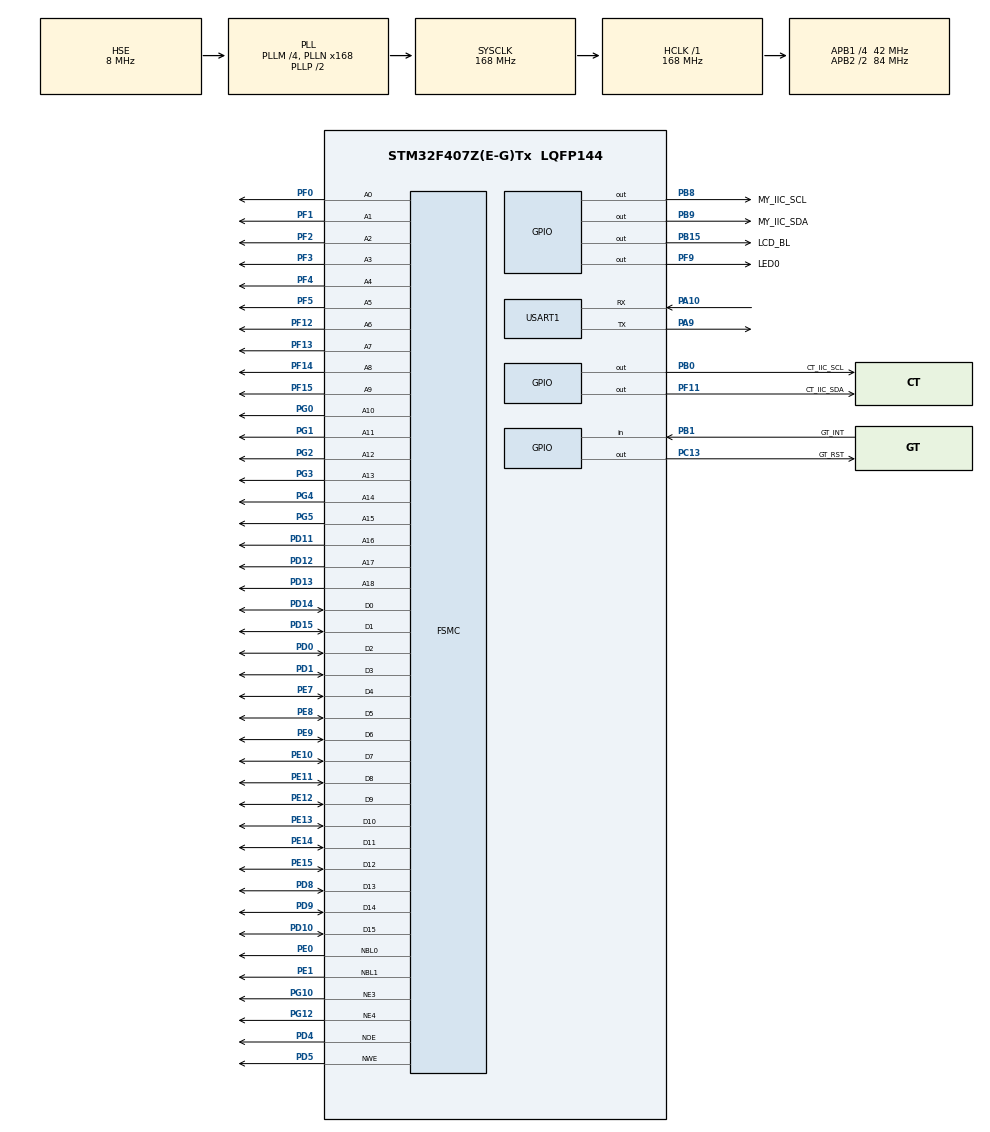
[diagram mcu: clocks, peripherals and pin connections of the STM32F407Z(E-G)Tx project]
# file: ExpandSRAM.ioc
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FSMC.AddressSetupTime3=0
FSMC.AddressSetupTime4=2
FSMC.BusTurnAroundDuration3=0
FSMC.DataSetupTime3=7
FSMC.DataSetupTime4=5
FSMC.ExtendedAddressSetupTime4=0
FSMC.ExtendedDataSetupTime4=3
FSMC.ExtendedMode4=FSMC_EXTENDED_MODE_ENABLE
FSMC.WriteOperation3=FSMC_WRITE_OPERATION_ENABLE
Mcu.Family=STM32F4
Mcu.Name=STM32F407Z(E-G)Tx
Mcu.Package=LQFP144
NVIC.PriorityGroup=NVIC_PRIORITYGROUP_4
NVIC.TIM3_IRQn=true\:1\:0\:true\:false\:true\:true\:true
NVIC.TIM4_IRQn=true\:2\:0\:true\:false\:true\:true\:true
NVIC.TIM5_IRQn=true\:3\:0\:true\:false\:true\:true\:true
PA10.Mode=Asynchronous
PA10.Signal=USART1_RX
PA13.Mode=Serial_Wire
PA13.Signal=SYS_JTMS-SWDIO
PA14.Mode=Serial_Wire
PA14.Signal=SYS_JTCK-SWCLK
PA9.Mode=Asynchronous
PA9.Signal=USART1_TX
PB0.GPIO_Label=CT_IIC_SCL
PB0.GPIO_PuPd=GPIO_PULLUP
PB0.GPIO_Speed=GPIO_SPEED_FREQ_VERY_HIGH
PB0.PinState=GPIO_PIN_SET
PB0.Signal=GPIO_Output
PB1.GPIO_Label=GT_INT
PB1.GPIO_PuPd=GPIO_PULLUP
PB1.Signal=GPIO_Input
PB15.GPIO_Label=LCD_BL
PB15.Signal=GPIO_Output
PB8.GPIO_Label=MY_IIC_SCL
PB8.GPIO_PuPd=GPIO_PULLUP
PB8.GPIO_Speed=GPIO_SPEED_FREQ_HIGH
PB8.PinState=GPIO_PIN_SET
PB8.Signal=GPIO_Output
PB9.GPIO_Label=MY_IIC_SDA
PB9.GPIO_PuPd=GPIO_PULLUP
PB9.GPIO_Speed=GPIO_SPEED_FREQ_HIGH
PB9.PinState=GPIO_PIN_SET
PB9.Signal=GPIO_Output
PC13-ANTI_TAMP.GPIO_Label=GT_RST
PC13-ANTI_TAMP.GPIO_PuPd=GPIO_PULLUP
PC13-ANTI_TAMP.GPIO_Speed=GPIO_SPEED_FREQ_LOW
PC13-ANTI_TAMP.PinState=GPIO_PIN_RESET
PC13-ANTI_TAMP.Signal=GPIO_Output
PD0.Signal=FSMC_D2_DA2
PD1.Signal=FSMC_D3_DA3
PD10.Signal=FSMC_D15_DA15
PD11.Signal=FSMC_A16_CLE
PD12.Signal=FSMC_A17_ALE
PD13.Signal=FSMC_A18
PD14.Signal=FSMC_D0_DA0
PD15.Signal=FSMC_D1_DA1
PD4.Signal=FSMC_NOE
PD5.Signal=FSMC_NWE
PD8.Signal=FSMC_D13_DA13
PD9.Signal=FSMC_D14_DA14
PE0.Signal=FSMC_NBL0
PE1.Signal=FSMC_NBL1
PE10.Signal=FSMC_D7_DA7
PE11.Signal=FSMC_D8_DA8
PE12.Signal=FSMC_D9_DA9
PE13.Signal=FSMC_D10_DA10
PE14.Signal=FSMC_D11_DA11
PE15.Signal=FSMC_D12_DA12
PE7.Signal=FSMC_D4_DA4
PE8.Signal=FSMC_D5_DA5
PE9.Signal=FSMC_D6_DA6
PF0.Signal=FSMC_A0
PF1.Signal=FSMC_A1
PF11.GPIO_Label=CT_IIC_SDA
PF11.GPIO_ModeDefaultOutputPP=GPIO_MODE_OUTPUT_PP
PF11.GPIO_PuPd=GPIO_PULLUP
PF11.GPIO_Speed=GPIO_SPEED_FREQ_VERY_HIGH
PF11.PinState=GPIO_PIN_SET
PF11.Signal=GPIO_Output
PF12.Signal=FSMC_A6
PF13.Signal=FSMC_A7
PF14.Signal=FSMC_A8
PF15.Signal=FSMC_A9
PF2.Signal=FSMC_A2
PF3.Signal=FSMC_A3
PF4.Signal=FSMC_A4
PF5.Signal=FSMC_A5
PF9.GPIO_Label=LED0
PF9.PinState=GPIO_PIN_SET
PF9.Signal=GPIO_Output
PG0.Signal=FSMC_A10
PG1.Signal=FSMC_A11
PG10.Mode=NorPsramChipSelect3_3
PG10.Signal=FSMC_NE3
PG12.Mode=NorPsramChipSelect4_4
PG12.Signal=FSMC_NE4
PG2.Signal=FSMC_A12
PG3.Signal=FSMC_A13
PG4.Signal=FSMC_A14
PG5.Signal=FSMC_A15
PH0-OSC_IN.Mode=HSE-External-Oscillator
PH0-OSC_IN.Signal=RCC_OSC_IN
PH1-OSC_OUT.Mode=HSE-External-Oscillator
PH1-OSC_OUT.Signal=RCC_OSC_OUT
ProjectManager.HeapSize=0x200
ProjectManager.StackSize=0x400
ProjectManager.TargetToolchain=SW4STM32
RCC.48MHZClocksFreq_Value=84000000
RCC.AHBFreq_Value=168000000
RCC.APB1CLKDivider=RCC_HCLK_DIV4
RCC.APB1Freq_Value=42000000
RCC.APB1TimFreq_Value=84000000
RCC.APB2CLKDivider=RCC_HCLK_DIV2
RCC.APB2Freq_Value=84000000
RCC.APB2TimFreq_Value=168000000
RCC.CortexFreq_Value=168000000
RCC.HCLKFreq_Value=168000000
RCC.HSE_VALUE=8000000
RCC.HSI_VALUE=16000000
RCC.LSE_VALUE=32768
RCC.PLLM=4
RCC.PLLN=168
RCC.PLLSourceVirtual=RCC_PLLSOURCE_HSE
RCC.SYSCLKFreq_VALUE=168000000
RCC.SYSCLKSource=RCC_SYSCLKSOURCE_PLLCLK
RCC.VCOOutputFreq_Value=336000000
SH.FSMC_A0.0=FSMC_A0,19b-a3
SH.FSMC_A1.0=FSMC_A1,19b-a3
SH.FSMC_A10.0=FSMC_A10,19b-a3
SH.FSMC_A11.0=FSMC_A11,19b-a3
SH.FSMC_A12.0=FSMC_A12,19b-a3
SH.FSMC_A13.0=FSMC_A13,19b-a3
SH.FSMC_A14.0=FSMC_A14,19b-a3
SH.FSMC_A15.0=FSMC_A15,19b-a3
SH.FSMC_A16_CLE.0=FSMC_A16,19b-a3
SH.FSMC_A17_ALE.0=FSMC_A17,19b-a3
SH.FSMC_A18.0=FSMC_A18,19b-a3
SH.FSMC_A2.0=FSMC_A2,19b-a3
SH.FSMC_A3.0=FSMC_A3,19b-a3
SH.FSMC_A4.0=FSMC_A4,19b-a3
SH.FSMC_A5.0=FSMC_A5,19b-a3
SH.FSMC_A6.0=FSMC_A6,A6_4
SH.FSMC_A6.1=FSMC_A6,19b-a3
SH.FSMC_A7.0=FSMC_A7,19b-a3
SH.FSMC_A8.0=FSMC_A8,19b-a3
SH.FSMC_A9.0=FSMC_A9,19b-a3
SH.FSMC_D0_DA0.0=FSMC_D0,16b-d4
SH.FSMC_D0_DA0.1=FSMC_D0,16b-d3
SH.FSMC_D10_DA10.0=FSMC_D10,16b-d4
SH.FSMC_D10_DA10.1=FSMC_D10,16b-d3
SH.FSMC_D11_DA11.0=FSMC_D11,16b-d4
SH.FSMC_D11_DA11.1=FSMC_D11,16b-d3
SH.FSMC_D12_DA12.0=FSMC_D12,16b-d4
SH.FSMC_D12_DA12.1=FSMC_D12,16b-d3
SH.FSMC_D13_DA13.0=FSMC_D13,16b-d4
SH.FSMC_D13_DA13.1=FSMC_D13,16b-d3
SH.FSMC_D14_DA14.0=FSMC_D14,16b-d4
SH.FSMC_D14_DA14.1=FSMC_D14,16b-d3
SH.FSMC_D15_DA15.0=FSMC_D15,16b-d4
SH.FSMC_D15_DA15.1=FSMC_D15,16b-d3
SH.FSMC_D1_DA1.0=FSMC_D1,16b-d4
SH.FSMC_D1_DA1.1=FSMC_D1,16b-d3
SH.FSMC_D2_DA2.0=FSMC_D2,16b-d4
SH.FSMC_D2_DA2.1=FSMC_D2,16b-d3
SH.FSMC_D3_DA3.0=FSMC_D3,16b-d4
SH.FSMC_D3_DA3.1=FSMC_D3,16b-d3
SH.FSMC_D4_DA4.0=FSMC_D4,16b-d4
SH.FSMC_D4_DA4.1=FSMC_D4,16b-d3
SH.FSMC_D5_DA5.0=FSMC_D5,16b-d4
SH.FSMC_D5_DA5.1=FSMC_D5,16b-d3
SH.FSMC_D6_DA6.0=FSMC_D6,16b-d4
SH.FSMC_D6_DA6.1=FSMC_D6,16b-d3
SH.FSMC_D7_DA7.0=FSMC_D7,16b-d4
SH.FSMC_D7_DA7.1=FSMC_D7,16b-d3
SH.FSMC_D8_DA8.0=FSMC_D8,16b-d4
SH.FSMC_D8_DA8.1=FSMC_D8,16b-d3
SH.FSMC_D9_DA9.0=FSMC_D9,16b-d4
SH.FSMC_D9_DA9.1=FSMC_D9,16b-d3
SH.FSMC_NBL0.0=FSMC_NBL0,2ByteEnable3
SH.FSMC_NBL1.0=FSMC_NBL1,2ByteEnable3
SH.FSMC_NOE.0=FSMC_NOE,Lcd4
SH.FSMC_NOE.1=FSMC_NOE,Sram3
SH.FSMC_NWE.0=FSMC_NWE,Lcd4
SH.FSMC_NWE.1=FSMC_NWE,Sram3
TIM3.AutoReloadPreload=TIM_AUTORELOAD_PRELOAD_ENABLE
TIM3.Period=999
TIM3.Prescaler=83
TIM4.AutoReloadPreload=TIM_AUTORELOAD_PRELOAD_ENABLE
TIM4.Period=999
TIM4.Prescaler=839
TIM5.AutoReloadPreload=TIM_AUTORELOAD_PRELOAD_ENABLE
TIM5.Period=8399
TIM5.Prescaler=4999
USART1.VirtualMode=VM_ASYNC
VP_CRC_VS_CRC.Mode=CRC_Activate
VP_TIM3_VS_ClockSourceINT.Mode=Internal
VP_TIM4_VS_ClockSourceINT.Mode=Internal
VP_TIM5_VS_ClockSourceINT.Mode=Internal
board=custom

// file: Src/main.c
/* USER CODE BEGIN Header */
/**
  ******************************************************************************
  * @file           : main.c
  * @brief          : Main program body
  ******************************************************************************
  * @attention
  *
  * <h2><center>&copy; Copyright (c) 2020 STMicroelectronics.
  * All rights reserved.</center></h2>
  *
  * This software component is licensed by ST under BSD 3-Clause license,
  * the "License"; You may not use this file except in compliance with the
  * License. You may obtain a copy of the License at:
  *                        opensource.org/licenses/BSD-3-Clause
  *
  ******************************************************************************
  */
/* USER CODE END Header */
#include "main.h"
#include "crc.h"
#include "tim.h"
#include "usart.h"
#include "gpio.h"
#include "fsmc.h"

/* USER CODE BEGIN Includes */
#include <stdio.h>
#include "retarget.h"
#include "ILI93xx.h"
#include "GUI.h"
#include "touch.h"
#include "emwinDemo.h"
#include "DIALOG.h"
//#include "malloc.h"
/* USER CODE END Includes */

void SystemClock_Config(void);

int main(void)
{

  /* MCU Configuration--------------------------------------------------------*/

  /* Reset of all peripherals, Initializes the Flash interface and the Systick. */
  HAL_Init();

  /* Configure the system clock */
  SystemClock_Config();

  /* Initialize all configured peripherals */
  MX_GPIO_Init();
  MX_USART1_UART_Init();
  MX_FSMC_Init();
  MX_CRC_Init();
  MX_TIM4_Init();
  MX_TIM5_Init();
  MX_TIM3_Init();
  /* USER CODE BEGIN 2 */
//    my_mem_init(SRAMIN); 		//内部RAM初始化
//    my_mem_init(SRAMEX); 		//外部RAM初始化
//    my_mem_init(SRAMCCM);		//CCM初始化
    RetargetInit(&huart1);
    TFTLCD_Init();
    TP_Init();
    WM_SetCreateFlags(WM_CF_MEMDEV);
    GUI_Init();

    HAL_TIM_Base_Start_IT(&htim3);
    HAL_TIM_Base_Start_IT(&htim4);
    HAL_TIM_Base_Start_IT(&htim5);
    //更换皮肤
    BUTTON_SetDefaultSkin(BUTTON_SKIN_FLEX);
    CHECKBOX_SetDefaultSkin(CHECKBOX_SKIN_FLEX);
    DROPDOWN_SetDefaultSkin(DROPDOWN_SKIN_FLEX);
    FRAMEWIN_SetDefaultSkin(FRAMEWIN_SKIN_FLEX);
    HEADER_SetDefaultSkin(HEADER_SKIN_FLEX);
    MENU_SetDefaultSkin(MENU_SKIN_FLEX);
    MULTIPAGE_SetDefaultSkin(MULTIPAGE_SKIN_FLEX);
    PROGBAR_SetDefaultSkin(PROGBAR_SKIN_FLEX);
    RADIO_SetDefaultSkin(RADIO_SKIN_FLEX);
    SCROLLBAR_SetDefaultSkin(SCROLLBAR_SKIN_FLEX);
    SLIDER_SetDefaultSkin(SLIDER_SKIN_FLEX);
    SPINBOX_SetDefaultSkin(SPINBOX_SKIN_FLEX);

    emwinDemo();

  /* USER CODE END 2 */

  /* Infinite loop */
  while (1)
  {

    /* USER CODE BEGIN 3 */
      GUI_Delay(1);

  }
  /* USER CODE END 3 */
}

void SystemClock_Config(void)
{
  RCC_OscInitTypeDef RCC_OscInitStruct = {0};
  RCC_ClkInitTypeDef RCC_ClkInitStruct = {0};

  /** Configure the main internal regulator output voltage
  */
  __HAL_RCC_PWR_CLK_ENABLE();
  __HAL_PWR_VOLTAGESCALING_CONFIG(PWR_REGULATOR_VOLTAGE_SCALE1);
  /** Initializes the RCC Oscillators according to the specified parameters
  * in the RCC_OscInitTypeDef structure.
  */
  RCC_OscInitStruct.OscillatorType = RCC_OSCILLATORTYPE_HSE;
  RCC_OscInitStruct.HSEState = RCC_HSE_ON;
  RCC_OscInitStruct.PLL.PLLState = RCC_PLL_ON;
  RCC_OscInitStruct.PLL.PLLSource = RCC_PLLSOURCE_HSE;
  RCC_OscInitStruct.PLL.PLLM = 4;
  RCC_OscInitStruct.PLL.PLLN = 168;
  RCC_OscInitStruct.PLL.PLLP = RCC_PLLP_DIV2;
  RCC_OscInitStruct.PLL.PLLQ = 4;
  if (HAL_RCC_OscConfig(&RCC_OscInitStruct) != HAL_OK)
  {
    Error_Handler();
  }
  /** Initializes the CPU, AHB and APB buses clocks
  */
  RCC_ClkInitStruct.ClockType = RCC_CLOCKTYPE_HCLK|RCC_CLOCKTYPE_SYSCLK
                              |RCC_CLOCKTYPE_PCLK1|RCC_CLOCKTYPE_PCLK2;
  RCC_ClkInitStruct.SYSCLKSource = RCC_SYSCLKSOURCE_PLLCLK;
  RCC_ClkInitStruct.AHBCLKDivider = RCC_SYSCLK_DIV1;
  RCC_ClkInitStruct.APB1CLKDivider = RCC_HCLK_DIV4;
  RCC_ClkInitStruct.APB2CLKDivider = RCC_HCLK_DIV2;

  if (HAL_RCC_ClockConfig(&RCC_ClkInitStruct, FLASH_LATENCY_5) != HAL_OK)
  {
    Error_Handler();
  }
}

void Error_Handler(void)
{
}

/************************ (C) COPYRIGHT STMicroelectronics *****END OF FILE****/
